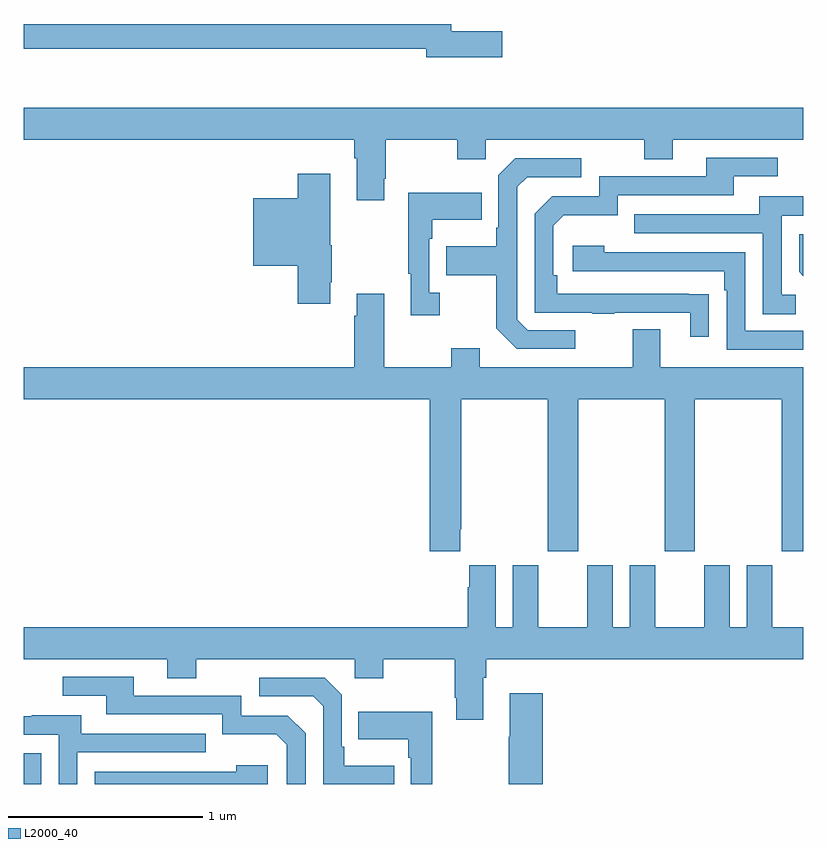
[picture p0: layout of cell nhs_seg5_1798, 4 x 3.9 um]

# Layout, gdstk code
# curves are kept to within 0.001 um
import gdstk
lib = gdstk.Library(unit=1e-6, precision=1e-09)
def R(c, l, rs):  # rectangles x0, y0, x1, y1
    for r in rs: c.add(gdstk.rectangle(r[:2], r[2:], *l))
def P(c, l, *ps):  # polygons
    for p in ps: c.add(gdstk.Polygon(p, *l))
L2000_40 = (2000, 40)

nhs_seg5_1798 = lib.new_cell('nhs_seg5_1798')
R(nhs_seg5_1798, L2000_40, [(219,842.799,219.09,842.956)])
P(nhs_seg5_1798, L2000_40, [(221.455,846.662),(221.194,846.662),(221.194,846.698),(219,846.698),(219,846.57),(221.066,846.57),(221.066,846.527),(221.455,846.527)],
  [(219,846.104),(220.697,846.104),(220.697,846.008),(220.709,846.008),(220.709,845.793),(220.849,845.793),(220.849,845.905),(220.857,845.905),(220.857,846.104),(221.224,846.104),(221.224,846.005),(221.37,846.005),(221.37,846.104),(222.184,846.104),(222.184,846.005),(222.331,846.005),(222.331,846.104),(223,846.104),(223,846.268),(219,846.268)],
  [(222.515,845.312),(221.738,845.313),(221.738,845.41),(221.718,845.41),(221.718,845.664),(221.771,845.717),(222.048,845.717),(222.048,845.82),(222.643,845.82),(222.643,845.916),(222.868,845.916),(222.868,846.012),(222.503,846.012),(222.503,845.916),(221.952,845.916),(221.952,845.814),(221.712,845.814),(221.622,845.724),(221.622,845.217),(221.917,845.217),(221.917,845.212),(222.029,845.212),(222.029,845.217),(222.419,845.217),(222.419,845.094),(222.515,845.094)],
  [(221.83,845.127),(221.586,845.127),(221.532,845.181),(221.532,845.862),(221.583,845.913),(221.86,845.913),(221.86,846.009),(221.523,846.009),(221.436,845.922),(221.436,845.653),(221.424,845.653),(221.424,845.557),(221.167,845.557),(221.167,845.41),(221.424,845.41),(221.424,845.137),(221.529,845.031),(221.83,845.031)],
  [(220.573,845.374),(220.581,845.374),(220.581,845.563),(220.573,845.563),(220.573,845.929),(220.406,845.929),(220.406,845.803),(220.178,845.803),(220.178,845.459),(220.406,845.459),(220.406,845.262),(220.573,845.262)],
  [(221.134,845.318),(221.082,845.318),(221.082,845.597),(221.095,845.597),(221.095,845.693),(221.351,845.693),(221.351,845.833),(220.974,845.833),(220.974,845.417),(220.985,845.417),(220.985,845.205),(221.134,845.205)],
  [(222.961,845.31),(222.888,845.31),(222.888,845.715),(223,845.715),(223,845.815),(222.773,845.815),(222.773,845.721),(222.133,845.721),(222.133,845.625),(222.792,845.625),(222.792,845.209),(222.961,845.209)],
  [(223,845.62),(222.978,845.62),(222.978,845.426),(223,845.404)],
  [(223,845.124),(222.702,845.124),(222.702,845.526),(221.978,845.526),(221.978,845.56),(221.817,845.56),(221.817,845.43),(222.593,845.43),(222.593,845.333),(222.606,845.333),(222.606,845.028),(223,845.028)],
  [(221.239,844.105),(221.244,844.105),(221.244,844.772),(221.689,844.772),(221.689,843.993),(221.844,843.993),(221.844,844.772),(222.289,844.772),(222.289,843.993),(222.444,843.993),(222.444,844.772),(222.889,844.772),(222.889,843.993),(223,843.993),(223,844.936),(222.265,844.936),(222.265,845.131),(222.125,845.131),(222.125,844.936),(221.341,844.936),(221.341,845.035),(221.194,845.035),(221.194,844.936),(220.849,844.936),(220.849,845.314),(220.709,845.314),(220.709,845.201),(220.697,845.201),(220.697,844.936),(219,844.936),(219,844.772),(221.084,844.772),(221.084,843.993),(221.239,843.993)],
  [(221.359,843.344),(221.372,843.344),(221.372,843.44),(223,843.44),(223,843.604),(222.841,843.604),(222.841,843.922),(222.71,843.922),(222.71,843.604),(222.622,843.604),(222.622,843.922),(222.491,843.922),(222.491,843.604),(222.241,843.604),(222.241,843.922),(222.11,843.922),(222.11,843.604),(222.022,843.604),(222.022,843.922),(221.891,843.922),(221.891,843.604),(221.641,843.604),(221.641,843.922),(221.51,843.922),(221.51,843.604),(221.422,843.604),(221.422,843.922),(221.285,843.922),(221.285,843.809),(221.279,843.809),(221.279,843.604),(219,843.604),(219,843.44),(219.737,843.44),(219.737,843.341),(219.885,843.341),(219.885,843.44),(220.698,843.44),(220.698,843.341),(220.845,843.341),(220.845,843.44),(221.212,843.44),(221.212,843.241),(221.219,843.241),(221.219,843.129),(221.359,843.129)],
  [(220.446,843.06),(220.356,843.15),(220.116,843.15),(220.116,843.252),(219.565,843.252),(219.565,843.348),(219.201,843.348),(219.201,843.252),(219.425,843.252),(219.425,843.156),(220.02,843.156),(220.02,843.053),(220.297,843.053),(220.35,843),(220.35,842.799),(220.446,842.799)],
  [(220.901,842.893),(220.645,842.893),(220.645,842.989),(220.632,842.989),(220.632,843.258),(220.545,843.345),(220.209,843.345),(220.209,843.249),(220.485,843.249),(220.536,843.198),(220.536,842.799),(220.901,842.799)],
  [(221.663,843.265),(221.495,843.265),(221.495,843.041),(221.488,843.041),(221.488,842.799),(221.663,842.799)],
  [(221.095,843.169),(220.717,843.169),(220.717,843.029),(220.974,843.029),(220.974,842.933),(220.986,842.933),(220.986,842.799),(221.095,842.799)],
  [(219.276,842.961),(219.935,842.961),(219.935,843.057),(219.295,843.057),(219.295,843.151),(219.041,843.151),(219.041,843.147),(219,843.147),(219,843.051),(219.18,843.051),(219.18,842.799),(219.276,842.799)],
  [(220.252,842.896),(220.091,842.896),(220.091,842.862),(219.366,842.862),(219.366,842.799),(220.252,842.799)])

lib.write_gds('nhs_seg5_1798.gds')
